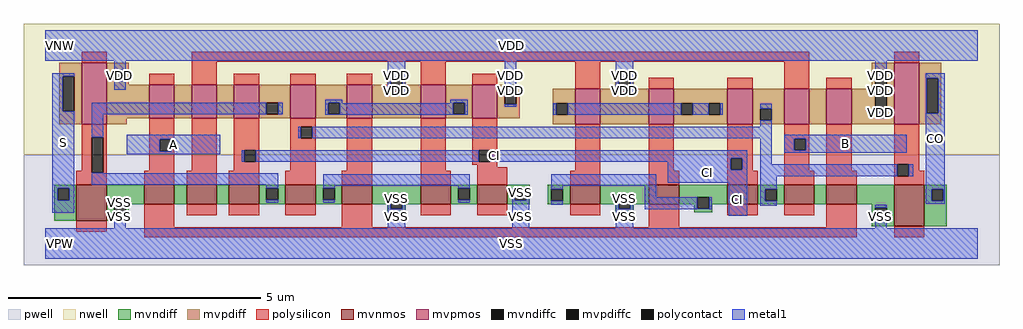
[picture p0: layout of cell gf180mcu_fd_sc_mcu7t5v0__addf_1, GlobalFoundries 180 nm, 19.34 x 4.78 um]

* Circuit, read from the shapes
.subckt gf180mcu_fd_sc_mcu7t5v0__addf_1 A B CI CO S VDD VNW VPW VSS
XM1 VSS n1 S VPW nfet_06v0 w=0.71u l=0.6u
XM2 n2 A VSS VPW nfet_06v0 w=0.38u l=0.6u
XM3 n3 B n2 VPW nfet_06v0 w=0.38u l=0.6u
XM4 n1 CI n3 VPW nfet_06v0 w=0.38u l=0.6u
XM5 n4 n5 n1 VPW nfet_06v0 w=0.38u l=0.6u
XM6 VSS A n4 VPW nfet_06v0 w=0.38u l=0.6u
XM7 n4 B VSS VPW nfet_06v0 w=0.38u l=0.6u
XM8 VSS CI n4 VPW nfet_06v0 w=0.38u l=0.6u
XM9 VSS B n6 VPW nfet_06v0 w=0.38u l=0.6u
XM10 n6 A VSS VPW nfet_06v0 w=0.38u l=0.6u
XM11 n5 CI n6 VPW nfet_06v0 w=0.38u l=0.6u
XM12 n7 B n5 VPW nfet_06v0 w=0.38u l=0.6u
XM13 VSS A n7 VPW nfet_06v0 w=0.38u l=0.6u
XM14 CO n5 VSS VPW nfet_06v0 w=0.815u l=0.6u
XM15 VDD n1 S VNW pfet_06v0 w=1.215u l=0.5u
XM16 n8 A VDD VNW pfet_06v0 w=0.66u l=0.5u
XM17 n9 B n8 VNW pfet_06v0 w=0.66u l=0.5u
XM18 n1 CI n9 VNW pfet_06v0 w=0.66u l=0.5u
XM19 n10 n5 n1 VNW pfet_06v0 w=0.66u l=0.5u
XM20 VDD A n10 VNW pfet_06v0 w=0.66u l=0.5u
XM21 n10 B VDD VNW pfet_06v0 w=0.66u l=0.5u
XM22 VDD CI n10 VNW pfet_06v0 w=0.66u l=0.5u
XM23 VDD B n11 VNW pfet_06v0 w=0.7u l=0.5u
XM24 n11 A VDD VNW pfet_06v0 w=0.7u l=0.5u
XM25 n5 CI n11 VNW pfet_06v0 w=0.7u l=0.5u
XM26 n12 B n5 VNW pfet_06v0 w=0.7u l=0.5u
XM27 VDD A n12 VNW pfet_06v0 w=0.7u l=0.5u
XM28 CO n5 VDD VNW pfet_06v0 w=1.215u l=0.5u
.ends

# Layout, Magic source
magic
tech gf180mcuD
magscale 1 10
<< nwell >>
rect -86 352 3782 870
<< pwell >>
rect -86 -86 3782 352
<< mvnmos >>
rect 124 90 244 232
rect 392 156 512 232
rect 560 156 680 232
rect 728 156 848 232
rect 952 156 1072 232
rect 1176 156 1296 232
rect 1488 156 1608 232
rect 1712 156 1832 232
rect 2080 156 2200 232
rect 2392 156 2512 232
rect 2704 156 2824 232
rect 2928 156 3048 232
rect 3096 156 3216 232
rect 3364 69 3484 232
<< mvpmos >>
rect 144 472 244 715
rect 412 496 512 628
rect 580 496 680 628
rect 748 496 848 628
rect 972 496 1072 628
rect 1196 496 1296 628
rect 1488 496 1588 628
rect 1692 496 1792 628
rect 2100 472 2200 612
rect 2392 472 2492 612
rect 2704 472 2804 612
rect 2928 472 3028 612
rect 3096 472 3196 612
rect 3364 472 3464 715
<< mvndiff >>
rect 36 218 124 232
rect 36 172 49 218
rect 95 172 124 218
rect 36 90 124 172
rect 244 163 392 232
rect 244 117 273 163
rect 319 156 392 163
rect 512 156 560 232
rect 680 156 728 232
rect 848 219 952 232
rect 848 173 877 219
rect 923 173 952 219
rect 848 156 952 173
rect 1072 219 1176 232
rect 1072 173 1101 219
rect 1147 173 1176 219
rect 1072 156 1176 173
rect 1296 183 1488 232
rect 1296 156 1369 183
rect 319 117 332 156
rect 244 90 332 117
rect 1356 137 1369 156
rect 1415 156 1488 183
rect 1608 219 1712 232
rect 1608 173 1637 219
rect 1683 173 1712 219
rect 1608 156 1712 173
rect 1832 218 1920 232
rect 1832 172 1861 218
rect 1907 172 1920 218
rect 1832 156 1920 172
rect 1992 215 2080 232
rect 1992 169 2005 215
rect 2051 169 2080 215
rect 1992 156 2080 169
rect 2200 183 2392 232
rect 2200 156 2273 183
rect 1415 137 1428 156
rect 1356 124 1428 137
rect 2260 137 2273 156
rect 2319 156 2392 183
rect 2512 183 2704 232
rect 2512 156 2585 183
rect 2319 137 2332 156
rect 2260 124 2332 137
rect 2572 137 2585 156
rect 2631 156 2704 183
rect 2824 215 2928 232
rect 2824 169 2853 215
rect 2899 169 2928 215
rect 2824 156 2928 169
rect 3048 156 3096 232
rect 3216 156 3364 232
rect 2631 137 2644 156
rect 2572 124 2644 137
rect 3276 142 3364 156
rect 3276 96 3289 142
rect 3335 96 3364 142
rect 3276 69 3364 96
rect 3484 215 3572 232
rect 3484 169 3513 215
rect 3559 169 3572 215
rect 3484 69 3572 169
<< mvpdiff >>
rect 56 663 144 715
rect 56 523 69 663
rect 115 523 144 663
rect 56 472 144 523
rect 244 689 332 715
rect 244 643 273 689
rect 319 643 332 689
rect 244 628 332 643
rect 1356 647 1428 660
rect 1356 628 1369 647
rect 244 496 412 628
rect 512 496 580 628
rect 680 496 748 628
rect 848 558 972 628
rect 848 512 877 558
rect 923 512 972 558
rect 848 496 972 512
rect 1072 558 1196 628
rect 1072 512 1121 558
rect 1167 512 1196 558
rect 1072 496 1196 512
rect 1296 601 1369 628
rect 1415 628 1428 647
rect 1415 601 1488 628
rect 1296 496 1488 601
rect 1588 558 1692 628
rect 1588 512 1617 558
rect 1663 512 1692 558
rect 1588 496 1692 512
rect 1792 598 1880 628
rect 2260 647 2332 660
rect 2260 612 2273 647
rect 1792 552 1821 598
rect 1867 552 1880 598
rect 1792 496 1880 552
rect 2012 555 2100 612
rect 2012 509 2025 555
rect 2071 509 2100 555
rect 244 472 324 496
rect 2012 472 2100 509
rect 2200 601 2273 612
rect 2319 612 2332 647
rect 3276 655 3364 715
rect 3276 612 3289 655
rect 2319 601 2392 612
rect 2200 472 2392 601
rect 2492 555 2704 612
rect 2492 509 2521 555
rect 2567 509 2629 555
rect 2675 509 2704 555
rect 2492 472 2704 509
rect 2804 534 2928 612
rect 2804 488 2833 534
rect 2879 488 2928 534
rect 2804 472 2928 488
rect 3028 472 3096 612
rect 3196 515 3289 612
rect 3335 515 3364 655
rect 3196 472 3364 515
rect 3464 655 3552 715
rect 3464 515 3493 655
rect 3539 515 3552 655
rect 3464 472 3552 515
<< mvndiffc >>
rect 49 172 95 218
rect 273 117 319 163
rect 877 173 923 219
rect 1101 173 1147 219
rect 1369 137 1415 183
rect 1637 173 1683 219
rect 1861 172 1907 218
rect 2005 169 2051 215
rect 2273 137 2319 183
rect 2585 137 2631 183
rect 2853 169 2899 215
rect 3289 96 3335 142
rect 3513 169 3559 215
<< mvpdiffc >>
rect 69 523 115 663
rect 273 643 319 689
rect 877 512 923 558
rect 1121 512 1167 558
rect 1369 601 1415 647
rect 1617 512 1663 558
rect 1821 552 1867 598
rect 2025 509 2071 555
rect 2273 601 2319 647
rect 2521 509 2567 555
rect 2629 509 2675 555
rect 2833 488 2879 534
rect 3289 515 3335 655
rect 3493 515 3539 655
<< polysilicon >>
rect 144 715 244 760
rect 580 720 3028 760
rect 412 628 512 672
rect 580 628 680 720
rect 748 628 848 672
rect 972 628 1072 672
rect 1196 628 1296 672
rect 1488 628 1588 720
rect 1692 628 1792 672
rect 2100 612 2200 720
rect 144 421 244 472
rect 144 288 185 421
rect 124 280 185 288
rect 231 280 244 421
rect 412 412 512 496
rect 412 366 453 412
rect 499 366 512 412
rect 412 288 512 366
rect 580 288 680 496
rect 748 370 848 496
rect 748 324 789 370
rect 835 324 848 370
rect 748 288 848 324
rect 972 463 1072 496
rect 972 417 1013 463
rect 1059 417 1072 463
rect 972 288 1072 417
rect 1196 288 1296 496
rect 124 232 244 280
rect 392 232 512 288
rect 560 232 680 288
rect 728 232 848 288
rect 952 232 1072 288
rect 1176 232 1296 288
rect 1488 288 1588 496
rect 1692 370 1792 496
rect 2392 612 2492 656
rect 2704 612 2804 656
rect 2928 612 3028 720
rect 3364 715 3464 760
rect 3096 612 3196 656
rect 1692 324 1718 370
rect 1764 324 1792 370
rect 1692 311 1792 324
rect 1712 301 1792 311
rect 1488 232 1608 288
rect 1712 232 1832 301
rect 2100 288 2200 472
rect 2080 232 2200 288
rect 2392 288 2492 472
rect 2704 337 2804 472
rect 2704 291 2717 337
rect 2763 291 2804 337
rect 2704 288 2804 291
rect 2928 415 3028 472
rect 2928 369 2969 415
rect 3015 369 3028 415
rect 2928 288 3028 369
rect 3096 288 3196 472
rect 3364 313 3464 472
rect 2392 232 2512 288
rect 2704 232 2824 288
rect 2928 232 3048 288
rect 3096 232 3216 288
rect 3364 267 3377 313
rect 3423 288 3464 313
rect 3423 267 3484 288
rect 3364 232 3484 267
rect 124 46 244 90
rect 392 64 512 156
rect 560 112 680 156
rect 728 112 848 156
rect 952 112 1072 156
rect 1176 64 1296 156
rect 1488 112 1608 156
rect 1712 112 1832 156
rect 2080 112 2200 156
rect 2392 64 2512 156
rect 2704 112 2824 156
rect 2928 112 3048 156
rect 3096 64 3216 156
rect 392 24 3216 64
rect 3364 24 3484 69
<< polycontact >>
rect 185 280 231 421
rect 453 366 499 412
rect 789 324 835 370
rect 1013 417 1059 463
rect 1718 324 1764 370
rect 2717 291 2763 337
rect 2969 369 3015 415
rect 3377 267 3423 313
<< metal1 >>
rect 0 724 3696 844
rect 273 689 319 724
rect 28 663 115 674
rect 28 523 69 663
rect 273 608 319 643
rect 1358 647 1426 724
rect 1358 601 1369 647
rect 1415 601 1426 647
rect 1821 598 1867 724
rect 2262 647 2330 724
rect 2262 601 2273 647
rect 2319 601 2330 647
rect 3289 655 3335 724
rect 1110 558 1178 569
rect 28 218 115 523
rect 185 512 877 558
rect 923 512 942 558
rect 1110 512 1121 558
rect 1167 555 1178 558
rect 1606 558 1674 569
rect 1606 555 1617 558
rect 1167 512 1617 555
rect 1663 512 1674 558
rect 1821 541 1867 552
rect 185 421 231 512
rect 1110 509 1674 512
rect 2014 509 2025 555
rect 2071 509 2521 555
rect 2567 509 2629 555
rect 2675 509 2686 555
rect 2833 534 2880 553
rect 2879 488 2880 534
rect 3289 496 3335 515
rect 3490 655 3566 674
rect 3490 515 3493 655
rect 3539 515 3566 655
rect 2833 463 2880 488
rect 323 412 694 430
rect 1002 417 1013 463
rect 1059 417 2880 463
rect 1002 416 2880 417
rect 323 366 453 412
rect 499 366 694 412
rect 323 354 694 366
rect 778 324 789 370
rect 835 324 1718 370
rect 1764 337 2782 370
rect 1764 324 2717 337
rect 185 278 231 280
rect 2468 291 2717 324
rect 2763 291 2782 337
rect 185 232 923 278
rect 28 172 49 218
rect 95 172 115 218
rect 877 219 923 232
rect 28 122 115 172
rect 273 163 319 174
rect 877 162 923 173
rect 1101 229 1683 275
rect 1101 219 1147 229
rect 1637 219 1683 229
rect 1101 162 1147 173
rect 273 60 319 117
rect 1358 137 1369 183
rect 1415 137 1426 183
rect 2005 229 2422 275
rect 2468 240 2782 291
rect 1637 162 1683 173
rect 1850 172 1861 218
rect 1907 172 1918 218
rect 1358 60 1426 137
rect 1850 60 1918 172
rect 2005 215 2051 229
rect 2376 183 2422 229
rect 2005 154 2051 169
rect 2262 137 2273 183
rect 2319 137 2330 183
rect 2262 60 2330 137
rect 2376 137 2585 183
rect 2631 137 2642 183
rect 2376 136 2642 137
rect 2708 110 2782 240
rect 2834 313 2880 416
rect 2928 415 3414 430
rect 2928 369 2969 415
rect 3015 369 3414 415
rect 2928 359 3414 369
rect 2834 267 3377 313
rect 3423 267 3440 313
rect 2834 215 2899 267
rect 2834 169 2853 215
rect 2834 150 2899 169
rect 3490 215 3566 515
rect 3490 169 3513 215
rect 3559 169 3566 215
rect 3490 158 3566 169
rect 3289 142 3335 153
rect 3289 60 3335 96
rect 0 -60 3696 60
<< labels >>
flabel metal1 s 2928 359 3414 430 0 FreeSans 600 0 0 0 B
port 2 nsew default input
flabel metal1 s 778 324 2782 370 0 FreeSans 600 0 0 0 CI
port 3 nsew default input
flabel metal1 s 3490 158 3566 674 0 FreeSans 600 0 0 0 CO
port 4 nsew default output
flabel metal1 s 28 122 115 674 0 FreeSans 600 0 0 0 S
port 5 nsew default output
flabel metal1 s 0 724 3696 844 0 FreeSans 600 0 0 0 VDD
port 6 nsew power bidirectional abutment
flabel metal1 s 1850 183 1918 218 0 FreeSans 600 0 0 0 VSS
port 9 nsew ground bidirectional abutment
flabel metal1 s 323 354 694 430 0 FreeSans 600 0 0 0 A
port 1 nsew default input
flabel nwell s 10 734 110 834 0 FreeSans 400 0 0 0 VNW
port 7 nsew power bidirectional
flabel pwell s 10 -50 110 50 0 FreeSans 400 0 0 0 VPW
port 8 nsew ground bidirectional
rlabel metal1 s 2468 240 2782 324 1 CI
port 3 nsew default input
rlabel metal1 s 2708 110 2782 240 1 CI
port 3 nsew default input
rlabel metal1 s 3289 608 3335 724 1 VDD
port 6 nsew power bidirectional abutment
rlabel metal1 s 2262 608 2330 724 1 VDD
port 6 nsew power bidirectional abutment
rlabel metal1 s 1821 608 1867 724 1 VDD
port 6 nsew power bidirectional abutment
rlabel metal1 s 1358 608 1426 724 1 VDD
port 6 nsew power bidirectional abutment
rlabel metal1 s 273 608 319 724 1 VDD
port 6 nsew power bidirectional abutment
rlabel metal1 s 3289 601 3335 608 1 VDD
port 6 nsew power bidirectional abutment
rlabel metal1 s 2262 601 2330 608 1 VDD
port 6 nsew power bidirectional abutment
rlabel metal1 s 1821 601 1867 608 1 VDD
port 6 nsew power bidirectional abutment
rlabel metal1 s 1358 601 1426 608 1 VDD
port 6 nsew power bidirectional abutment
rlabel metal1 s 3289 541 3335 601 1 VDD
port 6 nsew power bidirectional abutment
rlabel metal1 s 1821 541 1867 601 1 VDD
port 6 nsew power bidirectional abutment
rlabel metal1 s 3289 496 3335 541 1 VDD
port 6 nsew power bidirectional abutment
rlabel metal1 s 2262 174 2330 183 1 VSS
port 9 nsew ground bidirectional abutment
rlabel metal1 s 1850 174 1918 183 1 VSS
port 9 nsew ground bidirectional abutment
rlabel metal1 s 1358 174 1426 183 1 VSS
port 9 nsew ground bidirectional abutment
rlabel metal1 s 2262 153 2330 174 1 VSS
port 9 nsew ground bidirectional abutment
rlabel metal1 s 1850 153 1918 174 1 VSS
port 9 nsew ground bidirectional abutment
rlabel metal1 s 1358 153 1426 174 1 VSS
port 9 nsew ground bidirectional abutment
rlabel metal1 s 273 153 319 174 1 VSS
port 9 nsew ground bidirectional abutment
rlabel metal1 s 3289 60 3335 153 1 VSS
port 9 nsew ground bidirectional abutment
rlabel metal1 s 2262 60 2330 153 1 VSS
port 9 nsew ground bidirectional abutment
rlabel metal1 s 1850 60 1918 153 1 VSS
port 9 nsew ground bidirectional abutment
rlabel metal1 s 1358 60 1426 153 1 VSS
port 9 nsew ground bidirectional abutment
rlabel metal1 s 273 60 319 153 1 VSS
port 9 nsew ground bidirectional abutment
rlabel metal1 s 0 -60 3696 60 1 VSS
port 9 nsew ground bidirectional abutment
<< properties >>
string FIXED_BBOX 0 0 3696 784
string GDS_END 1172912
string GDS_FILE $PDKPATH/libs.ref/gf180mcu_fd_sc_mcu7t5v0/gds/gf180mcu_fd_sc_mcu7t5v0.gds
string GDS_START 1166226
string LEFclass core
string LEFsite GF018hv5v_mcu_sc7
string LEFsymmetry X Y
<< end >>
